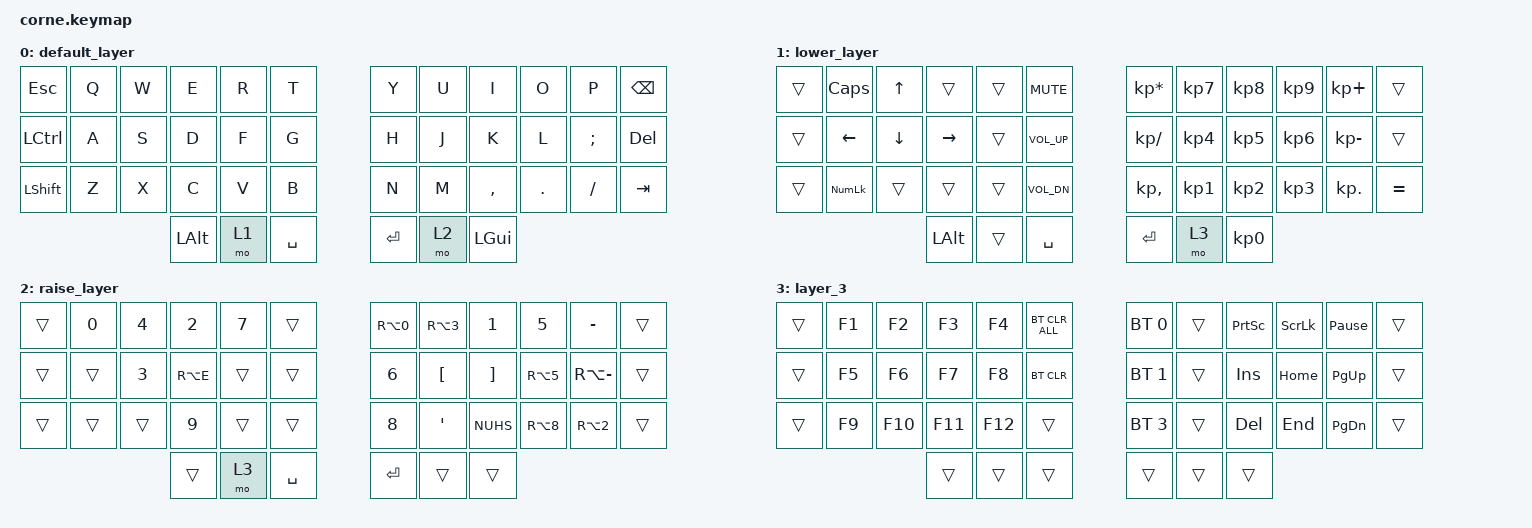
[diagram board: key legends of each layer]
/*
 * Copyright (c) 2020 The ZMK Contributors
 *
 * SPDX-License-Identifier: MIT
 */

#include <behaviors.dtsi>
#include <dt-bindings/zmk/bt.h>
#include <dt-bindings/zmk/keys.h>

/ {
    keymap {
        compatible = "zmk,keymap";

        default_layer {
            // -----------------------------------------------------------------------------------------
            // |  TAB |  Q  |  W  |  E  |  R  |  T  |   |  Y  |  U   |  I  |  O  |  P  | BKSP |
            // | CTRL |  A  |  S  |  D  |  F  |  G  |   |  H  |  J   |  K  |  L  |  ;  |  '   |
            // | SHFT |  Z  |  X  |  C  |  V  |  B  |   |  N  |  M   |  ,  |  .  |  /  | ESC  |
            //                    | GUI | LWR | SPC |   | ENT | RSE  | ALT |

            bindings = <
&kp ESC    &kp Q  &kp W  &kp E         &kp R  &kp T        &kp Y    &kp U  &kp I         &kp O    &kp P     &kp BSPC
&kp LCTRL  &kp A  &kp S  &kp D         &kp F  &kp G        &kp H    &kp J  &kp K         &kp L    &kp SEMI  &kp DELETE
&kp LSHFT  &kp Z  &kp X  &kp C         &kp V  &kp B        &kp N    &kp M  &kp COMMA     &kp DOT  &kp FSLH  &kp TAB
                         &kp LEFT_ALT  &mo 1  &kp SPACE    &kp RET  &mo 2  &kp LEFT_GUI
            >;
        };

        lower_layer {
            // -----------------------------------------------------------------------------------------
            // |  TAB |  1  |  2  |  3  |  4  |  5  |   |  6  |  7  |  8  |  9  |  0  | BKSP |
            // | BTCLR| BT1 | BT2 | BT3 | BT4 | BT5 |   | LFT | DWN |  UP | RGT |     |      |
            // | SHFT |     |     |     |     |     |   |     |     |     |     |     |      |
            //                    | GUI |     | SPC |   | ENT |     | ALT |

            bindings = <
&trans  &kp CAPSLOCK    &kp UP    &trans        &trans  &kp C_MUTE      &kp KP_MULTIPLY  &kp KP_N7  &kp KP_N8        &kp KP_N9  &kp KP_PLUS   &trans
&trans  &kp LEFT        &kp DOWN  &kp RIGHT     &trans  &kp C_VOL_UP    &kp KP_DIVIDE    &kp KP_N4  &kp KP_N5        &kp KP_N6  &kp KP_MINUS  &trans
&trans  &kp KP_NUMLOCK  &trans    &trans        &trans  &kp C_VOL_DN    &kp KP_COMMA     &kp KP_N1  &kp KP_N2        &kp KP_N3  &kp KP_DOT    &kp EQUAL
                                  &kp LEFT_ALT  &trans  &kp SPACE       &kp RET          &mo 3      &kp KP_NUMBER_0
            >;
        };

        raise_layer {
            // -----------------------------------------------------------------------------------------
            // |  TAB |  !  |  @  |  #  |  $  |  %  |   |  ^  |  &  |  *  |  (  |  )  | BKSP |
            // | CTRL |     |     |     |     |     |   |  -  |  =  |  [  |  ]  |  \  |  `   |
            // | SHFT |     |     |     |     |     |   |  _  |  +  |  {  |  }  | "|" |  ~   |
            //                    | GUI |     | SPC |   | ENT |     | ALT |

            bindings = <
&trans  &kp N0  &kp NUMBER_4  &kp NUMBER_2  &kp N7  &trans       &kp RA(N0)    &kp RA(NUMBER_3)  &kp NUMBER_1       &kp N5      &kp MINUS         &trans
&trans  &trans  &kp NUMBER_3  &kp RA(E)     &trans  &trans       &kp NUMBER_6  &kp LEFT_BRACKET  &kp RIGHT_BRACKET  &kp RA(N5)  &kp RA(MINUS)     &trans
&trans  &trans  &trans        &kp N9        &trans  &trans       &kp N8        &kp SINGLE_QUOTE  &kp NUHS           &kp RA(N8)  &kp RA(NUMBER_2)  &trans
                              &trans        &mo 3   &kp SPACE    &kp RET       &trans            &trans
            >;
        };

        layer_3 {
            bindings = <
&trans  &kp F1  &kp F2   &kp F3   &kp F4   &bt BT_CLR_ALL    &bt BT_SEL 0  &trans  &kp PSCRN  &kp SCROLLLOCK  &kp PAUSE_BREAK  &trans
&trans  &kp F5  &kp F6   &kp F7   &kp F8   &bt BT_CLR        &bt BT_SEL 1  &trans  &kp INS    &kp HOME        &kp PAGE_UP      &trans
&trans  &kp F9  &kp F10  &kp F11  &kp F12  &trans            &bt BT_SEL 3  &trans  &kp DEL    &kp END         &kp PAGE_DOWN    &trans
                         &trans   &trans   &trans            &trans        &trans  &trans
            >;
        };
    };
};
